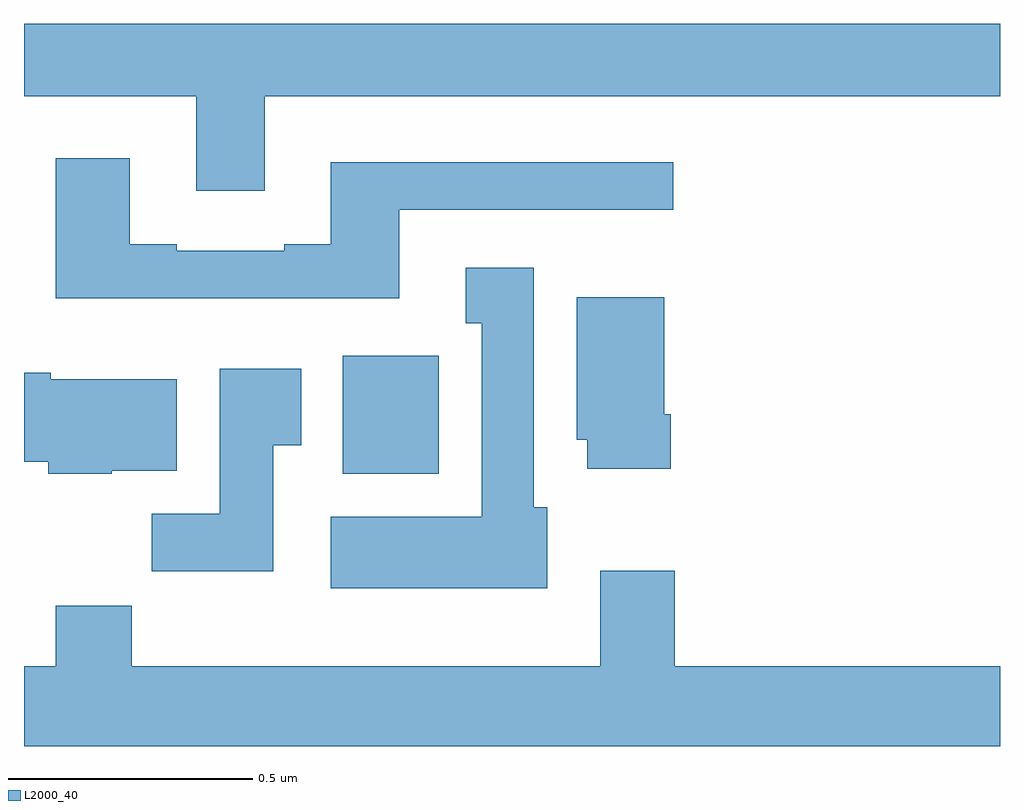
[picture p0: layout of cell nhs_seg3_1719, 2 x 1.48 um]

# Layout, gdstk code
import gdstk
lib = gdstk.Library(unit=1e-6, precision=1e-09)
def R(c, l, rs):  # rectangles x0, y0, x1, y1
    for r in rs: c.add(gdstk.rectangle(r[:2], r[2:], *l))
def P(c, l, *ps):  # polygons
    for p in ps: c.add(gdstk.Polygon(p, *l))
L2000_40 = (2000, 40)

nhs_seg3_1719 = lib.new_cell('nhs_seg3_1719')
R(nhs_seg3_1719, L2000_40, [(132.653,697.478,132.85,697.72)])
P(nhs_seg3_1719, L2000_40, [(132.493,698.252),(134,698.252),(134,698.4),(132,698.4),(132,698.252),(132.353,698.252),(132.353,698.058),(132.493,698.058)],
  [(132.769,698.019),(133.33,698.019),(133.33,698.116),(132.629,698.116),(132.629,697.948),(132.533,697.948),(132.533,697.935),(132.313,697.935),(132.313,697.948),(132.217,697.948),(132.217,698.125),(132.065,698.125),(132.065,697.838),(132.769,697.838)],
  [(133.072,697.41),(133.045,697.41),(133.045,697.9),(132.905,697.9),(132.905,697.787),(132.938,697.787),(132.938,697.39),(132.629,697.39),(132.629,697.244),(133.072,697.244)],
  [(133.325,697.6),(133.312,697.6),(133.312,697.84),(133.133,697.84),(133.133,697.548),(133.154,697.548),(133.154,697.488),(133.325,697.488)],
  [(132.511,697.537),(132.568,697.537),(132.568,697.693),(132.401,697.693),(132.401,697.396),(132.262,697.396),(132.262,697.278),(132.511,697.278)],
  [(132.18,697.484),(132.313,697.484),(132.313,697.672),(132.055,697.672),(132.055,697.685),(132,697.685),(132,697.503),(132.05,697.503),(132.05,697.478),(132.18,697.478)],
  [(134,697.084),(133.334,697.084),(133.334,697.279),(133.181,697.279),(133.181,697.084),(132.221,697.084),(132.221,697.208),(132.065,697.208),(132.065,697.084),(132,697.084),(132,696.92),(134,696.92)])

lib.write_gds('nhs_seg3_1719.gds')
